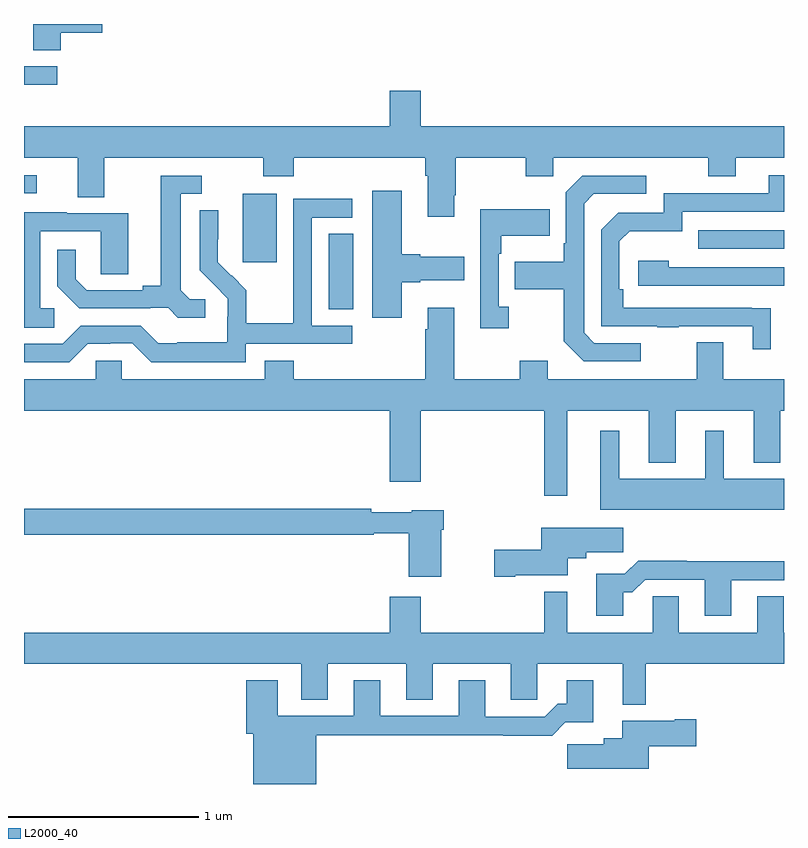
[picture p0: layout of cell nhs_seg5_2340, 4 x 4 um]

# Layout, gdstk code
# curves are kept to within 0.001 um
import gdstk
lib = gdstk.Library(unit=1e-6, precision=1e-09)
def R(c, l, rs):  # rectangles x0, y0, x1, y1
    for r in rs: c.add(gdstk.rectangle(r[:2], r[2:], *l))
def P(c, l, *ps):  # polygons
    for p in ps: c.add(gdstk.Polygon(p, *l))
L2000_40 = (2000, 40)

nhs_seg5_2340 = lib.new_cell('nhs_seg5_2340')
R(nhs_seg5_2340, L2000_40, [(248.603,853.297,248.734,853.694), (248.15,853.545,248.329,853.906), (250.549,853.617,251,853.713), (247,853.908,247.066,854.004), (247,854.479,247.174,854.577)])
P(nhs_seg5_2340, L2000_40, [(247.193,854.753),(247.411,854.753),(247.411,854.799),(247.049,854.799),(247.049,854.662),(247.193,854.662)],
  [(249.265,853.897),(249.273,853.897),(249.273,854.096),(249.64,854.096),(249.64,853.997),(249.786,853.997),(249.786,854.096),(250.6,854.096),(250.6,853.997),(250.747,853.997),(250.747,854.096),(251,854.096),(251,854.26),(249.088,854.26),(249.088,854.449),(248.924,854.449),(248.924,854.26),(247,854.26),(247,854.096),(247.283,854.096),(247.283,853.888),(247.423,853.888),(247.423,854.096),(248.26,854.096),(248.26,853.997),(248.42,853.997),(248.42,854.096),(249.113,854.096),(249.113,854),(249.125,854),(249.125,853.785),(249.265,853.785)],
  [(250.931,853.304),(250.154,853.305),(250.154,853.402),(250.134,853.402),(250.134,853.656),(250.187,853.709),(250.464,853.709),(250.464,853.812),(251,853.812),(251,854.004),(250.919,854.004),(250.919,853.908),(250.368,853.908),(250.368,853.806),(250.128,853.806),(250.038,853.716),(250.038,853.209),(250.333,853.209),(250.333,853.204),(250.445,853.204),(250.445,853.209),(250.835,853.209),(250.835,853.086),(250.931,853.086)],
  [(250.246,853.119),(250.002,853.119),(249.948,853.173),(249.948,853.854),(249.999,853.905),(250.276,853.905),(250.276,854.001),(249.939,854.001),(249.852,853.914),(249.852,853.645),(249.84,853.645),(249.84,853.549),(249.583,853.549),(249.583,853.402),(249.84,853.402),(249.84,853.129),(249.945,853.023),(250.246,853.023)],
  [(247.954,853.35),(247.872,853.35),(247.825,853.397),(247.825,853.905),(247.936,853.905),(247.936,854.001),(247.721,854.001),(247.721,853.421),(247.625,853.421),(247.625,853.398),(247.33,853.398),(247.273,853.455),(247.273,853.612),(247.176,853.612),(247.176,853.418),(247.292,853.302),(247.664,853.302),(247.664,853.305),(247.758,853.305),(247.81,853.253),(247.954,853.253)],
  [(248.989,853.439),(249.085,853.439),(249.085,853.451),(249.316,853.451),(249.316,853.573),(249.085,853.573),(249.085,853.586),(248.989,853.586),(248.989,853.921),(248.834,853.921),(248.834,853.254),(248.989,853.254)],
  [(248.166,853.116),(248.728,853.116),(248.728,853.212),(248.514,853.212),(248.514,853.779),(248.728,853.779),(248.728,853.878),(248.418,853.878),(248.418,853.448),(248.416,853.448),(248.416,853.225),(248.171,853.225),(248.171,853.399),(248.094,853.476),(248.091,853.473),(248.021,853.544),(248.022,853.82),(247.926,853.82),(247.926,853.502),(248.072,853.354),(248.072,853.257),(248.07,853.257),(248.07,853.123),(247.807,853.123),(247.807,853.119),(247.707,853.119),(247.614,853.212),(247.299,853.212),(247.203,853.116),(247,853.116),(247,853.02),(247.239,853.02),(247.335,853.116),(247.454,853.116),(247.454,853.119),(247.569,853.119),(247.669,853.019),(248.166,853.019)],
  [(249.55,853.31),(249.498,853.31),(249.498,853.589),(249.511,853.589),(249.511,853.685),(249.767,853.685),(249.767,853.825),(249.402,853.825),(249.402,853.197),(249.55,853.197)],
  [(247.159,853.302),(247.086,853.302),(247.086,853.707),(247.404,853.707),(247.404,853.483),(247.549,853.483),(247.549,853.803),(247.225,853.803),(247.225,853.807),(247,853.807),(247,853.201),(247.159,853.201)],
  [(251,853.518),(250.394,853.518),(250.394,853.552),(250.233,853.552),(250.233,853.422),(251,853.422)],
  [(249.859,852.764),(250.289,852.764),(250.289,852.491),(250.429,852.491),(250.429,852.764),(250.841,852.764),(250.841,852.491),(250.981,852.491),(250.981,852.764),(251,852.764),(251,852.928),(250.681,852.928),(250.681,853.123),(250.541,853.123),(250.541,852.928),(249.757,852.928),(249.757,853.027),(249.61,853.027),(249.61,852.928),(249.265,852.928),(249.265,853.306),(249.125,853.306),(249.125,853.193),(249.113,853.193),(249.113,852.928),(248.42,852.928),(248.42,853.027),(248.267,853.027),(248.267,852.928),(247.515,852.928),(247.515,853.026),(247.377,853.026),(247.377,852.928),(247,852.928),(247,852.764),(248.924,852.764),(248.924,852.39),(249.088,852.39),(249.088,852.764),(249.738,852.764),(249.738,852.315),(249.859,852.315)],
  [(251,852.406),(250.684,852.406),(250.684,852.658),(250.586,852.658),(250.586,852.406),(250.132,852.406),(250.132,852.658),(250.034,852.658),(250.034,852.242),(251,852.242)],
  [(249.196,852.137),(249.209,852.137),(249.209,852.241),(249.042,852.241),(249.042,852.229),(248.828,852.229),(248.828,852.248),(247,852.248),(247,852.112),(248.842,852.112),(248.842,852.12),(249.026,852.12),(249.026,851.889),(249.196,851.889)],
  [(249.586,851.897),(249.862,851.897),(249.862,851.987),(249.958,851.987),(249.958,852.019),(250.153,852.019),(250.153,852.148),(249.722,852.148),(249.722,852.032),(249.474,852.032),(249.474,851.89),(249.586,851.89)],
  [(250.153,851.807),(250.202,851.807),(250.269,851.874),(250.583,851.874),(250.583,851.685),(250.723,851.685),(250.723,851.871),(251,851.871),(251,851.972),(250.487,851.972),(250.487,851.975),(250.232,851.975),(250.162,851.905),(250.013,851.905),(250.013,851.685),(250.153,851.685)],
  [(250.273,851.432),(251,851.432),(251,851.596),(250.999,851.596),(250.999,851.786),(250.859,851.786),(250.859,851.596),(250.447,851.596),(250.447,851.786),(250.308,851.786),(250.308,851.596),(249.859,851.596),(249.859,851.812),(249.738,851.812),(249.738,851.596),(249.088,851.596),(249.088,851.785),(248.924,851.785),(248.924,851.596),(247,851.596),(247,851.432),(248.459,851.432),(248.459,851.242),(248.599,851.242),(248.599,851.432),(249.011,851.432),(249.011,851.242),(249.151,851.242),(249.151,851.432),(249.563,851.432),(249.563,851.242),(249.702,851.242),(249.702,851.432),(250.151,851.432),(250.151,851.216),(250.273,851.216)],
  [(248.539,851.056),(249.523,851.056),(249.523,851.054),(249.779,851.054),(249.848,851.123),(249.997,851.123),(249.997,851.344),(249.857,851.344),(249.857,851.221),(249.808,851.221),(249.741,851.154),(249.427,851.154),(249.427,851.344),(249.287,851.344),(249.287,851.157),(248.875,851.157),(248.875,851.344),(248.735,851.344),(248.735,851.157),(248.335,851.157),(248.335,851.344),(248.171,851.344),(248.171,851.064),(248.207,851.064),(248.207,850.799),(248.539,850.799)],
  [(250.288,850.997),(250.537,850.997),(250.537,851.139),(250.424,851.139),(250.424,851.131),(250.148,851.131),(250.148,851.041),(250.052,851.041),(250.052,851.009),(249.858,851.009),(249.858,850.88),(250.288,850.88)])

lib.write_gds('nhs_seg5_2340.gds')
